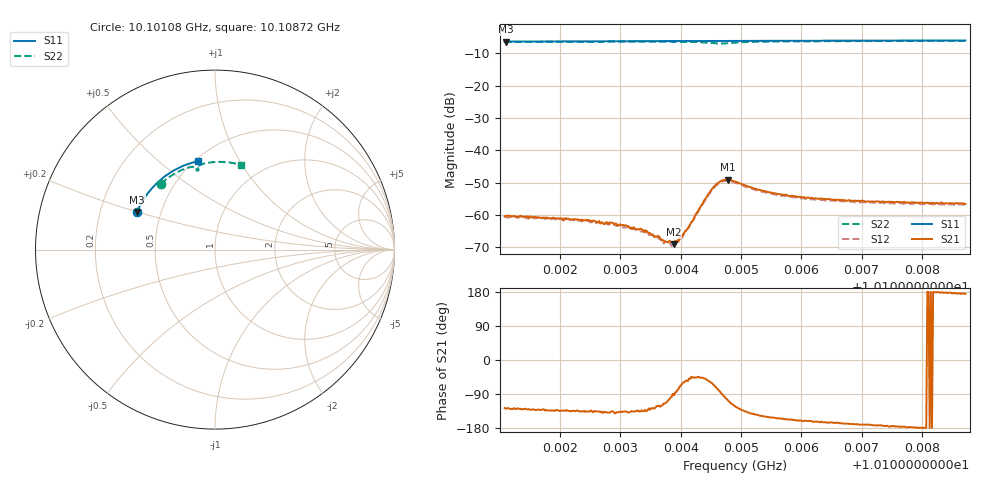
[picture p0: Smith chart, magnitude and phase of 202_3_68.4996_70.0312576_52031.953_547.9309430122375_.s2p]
#  HZ  S  RI  R  50.00
! Rohde & Schwarz Vector Network Analyzer
! Rohde-Schwarz,ZNB20-2Port,1311601062101988,3.16
! Created: UTC 3/20/2024, 4:57:41 PM
! freq[Hz]  re:S11  im:S11  re:S21  im:S21  re:S12  im:S12  re:S22  im:S22
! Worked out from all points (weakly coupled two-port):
!   401 points, 10.10108 GHz to 10.10872 GHz, reference 50 ohm
!   highest |S21| = -49.05 dB at 10.10479 GHz (marker M1); lowest = -69.0 dB at 10.10389 GHz (marker M2)
!   lowest |S11| = -6.3 dB at 10.1011 GHz (marker M3), VSWR 2.86, Z = 18.3 + j9.94 ohm
!   |S11| at or under -10 dB: nowhere
!   |S22| runs from -6.9 to -6.1 dB; largest |S21 - S12| = 0.00034
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1.010108e10  -0.435 0.208  -0.000573 -0.000765  -0.000505 -0.000798  -0.3017 0.3665
1.0101099e10  -0.4344 0.209  -0.00061 -0.000763  -0.000508 -0.000781  -0.3008 0.3674
1.010236e10  -0.3994 0.2773  -0.000598 -0.000606  -0.000507 -0.000606  -0.2352 0.4168
1.0102646e10  -0.39 0.2919  -0.00058 -0.000565  -0.000513 -0.000582  -0.2191 0.4262
1.0103086e10  -0.3745 0.3137  -0.0005 -0.000486  -0.000436 -0.000466  -0.193 0.4397
1.0103391e10  -0.363 0.3282  -0.000388 -0.000383  -0.000353 -0.000433  -0.174 0.4481
1.010364e10  -0.3532 0.3398  -0.000236 -0.0004  -0.000192 -0.00038  -0.1574 0.4541
1.0103754e10  -0.3486 0.3451  -0.000149 -0.000354  -9.96e-05 -0.000378  -0.1496 0.4564
1.0103888e10  -0.3431 0.351  -2.02e-05 -0.000353  3.84e-05 -0.000383  -0.1399 0.4589
1.0103965e10  -0.3399 0.3543  9.28e-05 -0.000379  0.000151 -0.000402  -0.1341 0.4601
1.0104041e10  -0.3366 0.3576  0.00026 -0.00043  0.000273 -0.000399  -0.1282 0.461
1.0104175e10  -0.3309 0.3633  0.000552 -0.000542  0.000531 -0.000484  -0.117 0.4614
1.0104423e10  -0.3199 0.3738  0.00116 -0.00145  0.00122 -0.0013  -0.0966 0.4545
1.0104538e10  -0.3149 0.3784  0.00115 -0.00239  0.00127 -0.00219  -0.0917 0.4458
1.0104671e10  -0.3088 0.3838  0.000142 -0.0034  0.000411 -0.00321  -0.0966 0.4389
1.0104786e10  -0.3038 0.3883  -0.00104 -0.00337  -0.000713 -0.0033  -0.1028 0.4433
1.0104901e10  -0.2987 0.3929  -0.00173 -0.00278  -0.00141 -0.00281  -0.1026 0.4525
1.0105225e10  -0.2831 0.4051  -0.00205 -0.00153  -0.00184 -0.00163  -0.0832 0.4711
1.0105493e10  -0.2702 0.4148  -0.00196 -0.00107  -0.00178 -0.00117  -0.064 0.4785
1.0106181e10  -0.2351 0.4374  -0.00176 -0.000566  -0.00161 -0.000685  -0.0169 0.487
1.0107461e10  -0.1655 0.4711  -0.00159 -0.000106  -0.00148 -0.000299  0.0668 0.4865
1.0108722e10  -0.0924 0.493  -0.00148 0.00014  -0.00143 -2.1e-05  0.1462 0.4717
